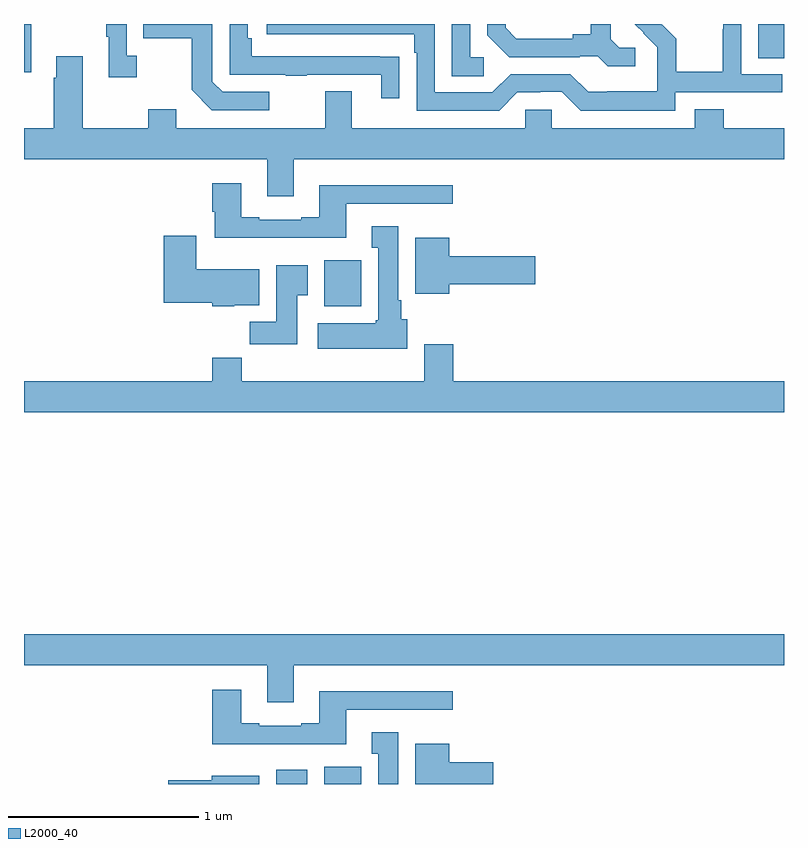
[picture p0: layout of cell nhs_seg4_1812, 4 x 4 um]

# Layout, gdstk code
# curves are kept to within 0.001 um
import gdstk
lib = gdstk.Library(unit=1e-6, precision=1e-09)
def R(c, l, rs):  # rectangles x0, y0, x1, y1
    for r in rs: c.add(gdstk.rectangle(r[:2], r[2:], *l))
def P(c, l, *ps):  # polygons
    for p in ps: c.add(gdstk.Polygon(p, *l))
L2000_40 = (2000, 40)

nhs_seg4_1812 = lib.new_cell('nhs_seg4_1812')
R(nhs_seg4_1812, L2000_40, [(206.327,758.9,206.491,758.974), (206.579,758.9,206.776,758.992), (206.579,761.414,206.776,761.656), (205,762.645,205.039,762.9), (208.865,762.721,209,762.9)])
P(nhs_seg4_1812, L2000_40, [(208.428,762.54),(208.99,762.54),(208.99,762.636),(208.776,762.636),(208.776,762.9),(208.68,762.9),(208.68,762.872),(208.678,762.872),(208.678,762.649),(208.433,762.649),(208.433,762.823),(208.356,762.9),(208.353,762.897),(208.35,762.9),(208.214,762.9),(208.334,762.778),(208.334,762.681),(208.332,762.681),(208.332,762.547),(208.069,762.547),(208.069,762.543),(207.969,762.543),(207.876,762.636),(207.561,762.636),(207.465,762.54),(207.162,762.54),(207.162,762.9),(206.277,762.9),(206.277,762.846),(207.053,762.846),(207.053,762.749),(207.066,762.749),(207.066,762.444),(207.501,762.444),(207.597,762.54),(207.716,762.54),(207.716,762.543),(207.831,762.543),(207.931,762.443),(208.428,762.443)],
  [(206.975,762.728),(206.873,762.728),(206.873,762.729),(206.198,762.729),(206.198,762.826),(206.178,762.826),(206.178,762.9),(206.082,762.9),(206.082,762.633),(206.377,762.633),(206.377,762.628),(206.489,762.628),(206.489,762.633),(206.879,762.633),(206.879,762.51),(206.975,762.51)],
  [(207.421,762.726),(207.348,762.726),(207.348,762.9),(207.252,762.9),(207.252,762.625),(207.421,762.625)],
  [(205.594,762.734),(205.542,762.734),(205.542,762.9),(205.434,762.9),(205.434,762.833),(205.445,762.833),(205.445,762.621),(205.594,762.621)],
  [(206.29,762.543),(206.046,762.543),(205.992,762.597),(205.992,762.9),(205.627,762.9),(205.627,762.826),(205.884,762.826),(205.884,762.553),(205.989,762.447),(206.29,762.447)],
  [(208.216,762.774),(208.134,762.774),(208.087,762.821),(208.087,762.9),(207.983,762.9),(207.983,762.845),(207.887,762.845),(207.887,762.822),(207.592,762.822),(207.535,762.879),(207.535,762.9),(207.438,762.9),(207.438,762.842),(207.554,762.726),(207.926,762.726),(207.926,762.729),(208.02,762.729),(208.072,762.677),(208.216,762.677)],
  [(205.169,762.73),(205.169,762.617),(205.157,762.617),(205.157,762.352),(205,762.352),(205,762.188),(206.279,762.188),(206.279,761.994),(206.419,761.994),(206.419,762.188),(209,762.188),(209,762.352),(208.682,762.352),(208.682,762.451),(208.529,762.451),(208.529,762.352),(207.777,762.352),(207.777,762.45),(207.639,762.45),(207.639,762.352),(206.725,762.352),(206.725,762.547),(206.585,762.547),(206.585,762.352),(205.801,762.352),(205.801,762.451),(205.654,762.451),(205.654,762.352),(205.309,762.352),(205.309,762.73)],
  [(206.695,761.955),(207.256,761.955),(207.256,762.052),(206.555,762.052),(206.555,761.884),(206.459,761.884),(206.459,761.871),(206.239,761.871),(206.239,761.884),(206.143,761.884),(206.143,762.061),(205.991,762.061),(205.991,761.913),(206.003,761.913),(206.003,761.774),(206.695,761.774)],
  [(207.016,761.346),(206.986,761.346),(206.986,761.446),(206.971,761.446),(206.971,761.836),(206.831,761.836),(206.831,761.723),(206.864,761.723),(206.864,761.34),(206.851,761.34),(206.851,761.326),(206.547,761.326),(206.547,761.192),(207.016,761.192)],
  [(206.106,761.42),(206.239,761.42),(206.239,761.608),(205.906,761.608),(205.906,761.785),(205.736,761.785),(205.736,761.432),(205.992,761.432),(205.992,761.414),(206.106,761.414)],
  [(207.238,761.531),(207.691,761.531),(207.691,761.678),(207.238,761.678),(207.238,761.776),(207.059,761.776),(207.059,761.48),(207.238,761.48)],
  [(206.437,761.473),(206.494,761.473),(206.494,761.629),(206.327,761.629),(206.327,761.332),(206.188,761.332),(206.188,761.214),(206.437,761.214)],
  [(209,761.02),(207.26,761.02),(207.26,761.215),(207.107,761.215),(207.107,761.02),(206.147,761.02),(206.147,761.144),(205.991,761.144),(205.991,761.02),(205,761.02),(205,760.856),(209,760.856)],
  [(206.419,759.524),(209,759.524),(209,759.688),(205,759.688),(205,759.524),(206.279,759.524),(206.279,759.33),(206.419,759.33)],
  [(206.695,759.291),(207.256,759.291),(207.256,759.388),(206.555,759.388),(206.555,759.22),(206.459,759.22),(206.459,759.207),(206.239,759.207),(206.239,759.22),(206.143,759.22),(206.143,759.397),(205.991,759.397),(205.991,759.11),(206.695,759.11)],
  [(206.971,759.172),(206.831,759.172),(206.831,759.059),(206.864,759.059),(206.864,758.9),(206.971,758.9)],
  [(207.469,759.014),(207.238,759.014),(207.238,759.112),(207.059,759.112),(207.059,758.9),(207.469,758.9)],
  [(206.239,758.944),(205.988,758.944),(205.988,758.921),(205.758,758.921),(205.758,758.9),(206.239,758.9)])

lib.write_gds('nhs_seg4_1812.gds')
